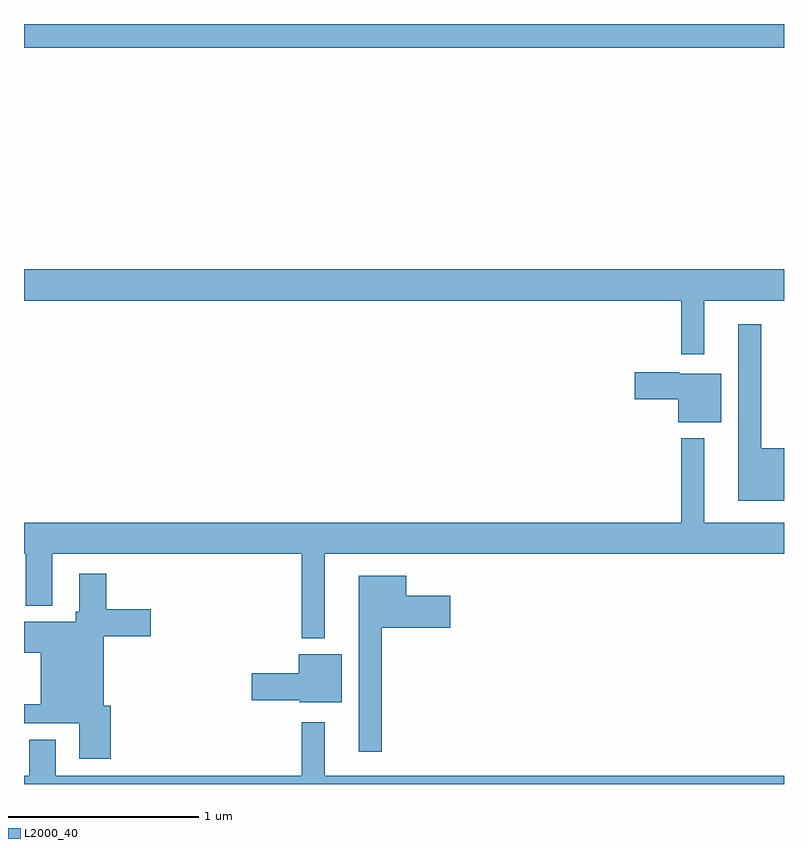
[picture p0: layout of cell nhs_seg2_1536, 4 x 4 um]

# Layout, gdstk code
import gdstk
lib = gdstk.Library(unit=1e-6, precision=1e-09)
def R(c, l, rs):  # rectangles x0, y0, x1, y1
    for r in rs: c.add(gdstk.rectangle(r[:2], r[2:], *l))
def P(c, l, *ps):  # polygons
    for p in ps: c.add(gdstk.Polygon(p, *l))
L2000_40 = (2000, 40)

nhs_seg2_1536 = lib.new_cell('nhs_seg2_1536')
R(nhs_seg2_1536, L2000_40, [(191,607.676,195,607.8)])
P(nhs_seg2_1536, L2000_40, [(194.581,606.344),(195,606.344),(195,606.508),(191,606.508),(191,606.344),(194.46,606.344),(194.46,606.063),(194.581,606.063)],
  [(195,605.567),(194.881,605.567),(194.881,606.22),(194.759,606.22),(194.759,605.291),(195,605.291)],
  [(194.671,605.959),(194.448,605.959),(194.448,605.967),(194.214,605.967),(194.214,605.825),(194.444,605.825),(194.444,605.705),(194.671,605.705)],
  [(192.583,605.012),(195,605.012),(195,605.176),(194.581,605.176),(194.581,605.62),(194.46,605.62),(194.46,605.176),(191,605.176),(191,605.012),(191.009,605.012),(191.009,604.739),(191.149,604.739),(191.149,605.012),(192.462,605.012),(192.462,604.568),(192.583,604.568)],
  [(191.456,604.212),(191.419,604.212),(191.419,604.577),(191.668,604.577),(191.668,604.719),(191.432,604.719),(191.432,604.906),(191.291,604.906),(191.291,604.707),(191.272,604.707),(191.272,604.654),(191,604.654),(191,604.49),(191.087,604.49),(191.087,604.22),(191,604.22),(191,604.119),(191.291,604.119),(191.291,603.933),(191.456,603.933)],
  [(192.883,604.622),(193.243,604.622),(193.243,604.792),(193.012,604.792),(193.012,604.897),(192.761,604.897),(192.761,603.969),(192.883,603.969)],
  [(192.673,604.483),(192.446,604.483),(192.446,604.382),(192.198,604.382),(192.198,604.24),(192.45,604.24),(192.45,604.229),(192.673,604.229)],
  [(195,603.844),(192.583,603.844),(192.583,604.126),(192.462,604.126),(192.462,603.844),(191.167,603.844),(191.167,604.034),(191.027,604.034),(191.027,603.844),(191,603.844),(191,603.8),(195,603.8)])

lib.write_gds('nhs_seg2_1536.gds')
